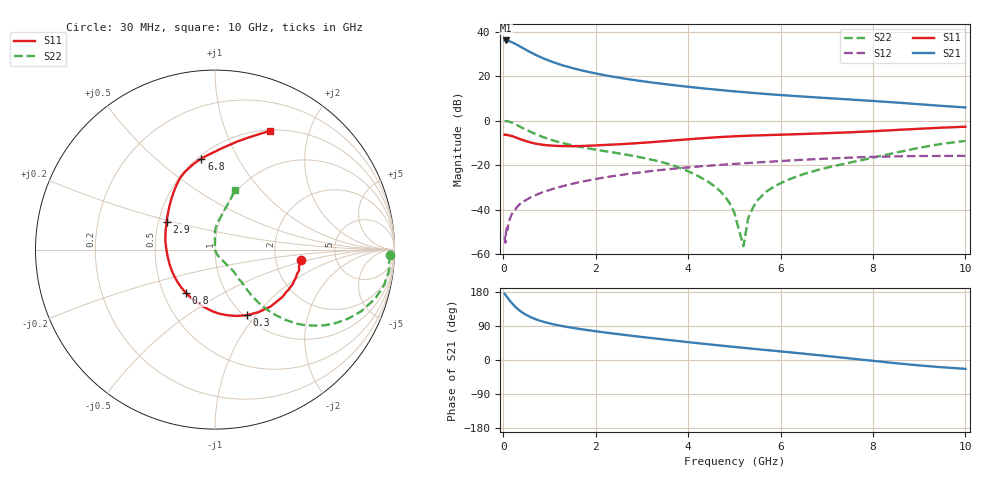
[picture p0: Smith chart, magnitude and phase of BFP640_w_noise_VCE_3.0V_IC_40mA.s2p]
! (c) 2013  Infineon Technologies AG, Munich
! Infineon Technologies  Discrete & RF Semiconductors
! BFP640
! VCE =  3.0 V,  IC =  40 mA
! Common Emitter S-Parameters:  Apr 2013
# GHz  S  MA  R  50
!  f  S11  S21  S12  S22
! GHz  MAG  ANG  MAG  ANG  MAG  ANG  MAG  ANG
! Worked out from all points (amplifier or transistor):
!   99 points, 30 MHz to 10 GHz, reference 50 ohm
!   highest |S21| = 36.0 dB at 50 MHz (marker M1)
!   |S21| within 3 dB of that: start of sweep to 389.1 MHz
!   unconditionally stable (mu >= 1): 1.914 GHz to end of sweep
!   at 350 MHz: K = 0.44, MSG = 35.6 dB, |S12| = -37.7 dB
!   at 3.5 GHz: K = 1.06, MAG = 17.8 dB, |S12| = -22.0 dB
!   at 10 GHz: K = 1.06, MAG = 9.4 dB, |S12| = -15.8 dB
!   lowest NFmin = 1.25 dB at 450 MHz
!   S11 on the Smith chart (normalised r, x): 30 MHz: 2.79, -0.40; 300 MHz: 1.03, -0.90; 800 MHz: 0.65, -0.34; 2.9 GHz: 0.55, +0.19; 6.8 GHz: 0.52, +0.72; 10 GHz: 0.51, +1.43
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0.03  0.4815 -6.6  63.02 174.7  0.0025 72.9  0.9728 -1.8
0.05  0.4773 -11.6  63.29 171.7  0.0018 101.1  0.9727 -4.8
0.08  0.4772 -19.2  62.83 166.5  0.0044 86.6  0.9706 -9.0
0.15  0.4583 -35.4  59.72 155.5  0.0064 76.0  0.9265 -17.7
0.2  0.4435 -45.6  56.88 148.4  0.0085 78.1  0.884 -22.9
0.25  0.4247 -55.1  53.84 141.8  0.0095 74.2  0.8356 -27.4
0.3  0.4067 -63.9  50.48 136.1  0.0114 70.4  0.7876 -31.3
0.4  0.3718 -79.5  44.18 126.4  0.0141 68.9  0.696 -37.5
0.5  0.3436 -92.5  38.59 118.9  0.0165 66.9  0.618 -42.0
0.6  0.3207 -104.3  33.93 112.7  0.019 65.8  0.5531 -45.0
0.8  0.2913 -123.6  26.91 103.5  0.0234 64.9  0.4518 -48.8
1.1  0.2713 -146.3  20.26 93.9  0.0297 63.5  0.3524 -51.1
1.4  0.266 -162.8  16.16 86.9  0.0359 62.2  0.2932 -51.5
1.7  0.2682 -175.8  13.43 81.1  0.0422 60.5  0.2521 -50.8
2.2  0.2828 168.0  10.46 72.7  0.0529 57.0  0.2052 -51.0
2.9  0.3108 150.3  7.964 62.2  0.0671 51.7  0.1545 -49.7
3.4  0.3396 139.7  6.794 55.2  0.0772 47.4  0.1182 -51.7
5.1  0.4474 115.1  4.452 33.3  0.1078 32.4  0.0035 -72.3
6.7  0.508 99.7  3.358 14.2  0.135 18.1  0.0723 90.2
6.8  0.5123 98.5  3.303 13.0  0.1365 17.1  0.0769 90.1
8.5  0.6145 78.4  2.545 -8.5  0.1569 -0.2  0.1904 79.5
10  0.7272 65.3  1.971 -23.4  0.1613 -12.2  0.3492 71.8
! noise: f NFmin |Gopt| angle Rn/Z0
0.45  1.25  0.25  -170  0.05
0.9  1.25  0.28  -159  0.07
1.5  1.26  0.31  -145  0.09
1.9  1.29  0.32  222  0.12
2.4  1.34  0.33  -124  0.14
3.5  1.46  0.38  -107  0.17
5.5  1.67  0.42  -91  0.26
10  2.15  0.63  -49  0.74
